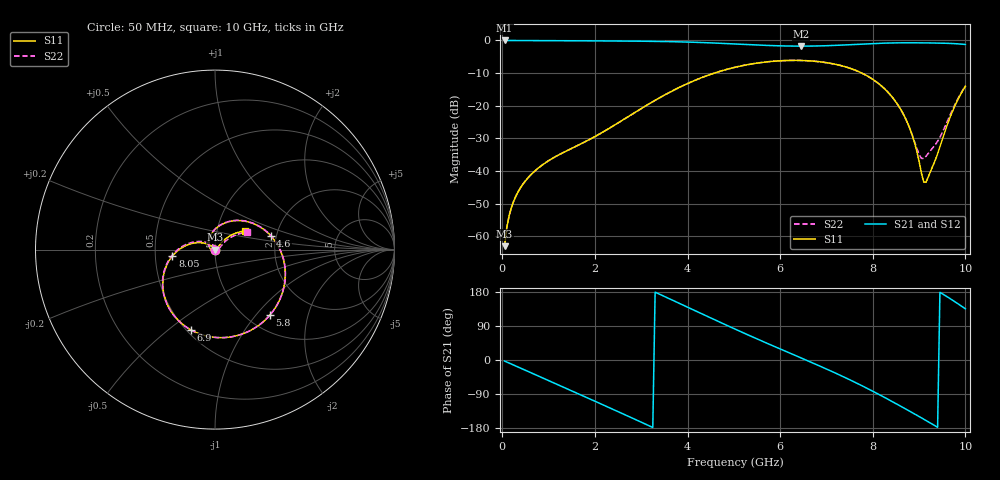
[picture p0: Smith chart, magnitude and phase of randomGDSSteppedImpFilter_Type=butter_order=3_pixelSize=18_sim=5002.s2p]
! freq	dB(S11)	phase(S11)	dB(S12)	phase(S12)
!  dB(S21)	phase(S21)	dB(S22)	phase(S22)
!S-par simulation data
#  GHz  S  DB  R 50
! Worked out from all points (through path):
!   200 points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, 50 MHz to 10 GHz, reference 50 ohm
!   highest |S21| = -0.01 dB at 50 MHz (marker M1); lowest = -1.7 dB at 6.45 GHz (marker M2)
!   group delay of S21, straight-line fit = 158 ps
!   lowest |S11| = -63.0 dB at 50 MHz (marker M3), VSWR 1.00, Z = 50 - j0.0703 ohm
!   |S11| at or under -10 dB: start of sweep to 4.581 GHz; 7.764 GHz to end of sweep
!   |S22| runs from -63.0 to -6.1 dB; largest |S21 - S12| = 0
!   S11 on the Smith chart (normalised r, x): 50 MHz: 1.00, -0.00; 4.6 GHz: 1.86, +0.32; 5.8 GHz: 1.26, -1.19; 6.9 GHz: 0.53, -0.60; 8.05 GHz: 0.62, -0.05; 10 GHz: 1.37, +0.30
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0.05  -63.03 -84.8  -0.01 -2.8  -0.01 -2.8  -63.03 -84.8
0.2  -51.05 -98.6  -0.03 -10.9  -0.03 -10.9  -51.04 -98.4
0.45  -43.95 -113.3  -0.04 -24.5  -0.04 -24.5  -43.94 -112.9
1.15  -35.58 -155.4  -0.07 -62.4  -0.07 -62.4  -35.58 -154.4
1.75  -31.32 169.3  -0.11 -95.1  -0.11 -95.1  -31.33 170.6
2.65  -23.95 120.9  -0.19 -144.6  -0.19 -144.6  -23.95 122.0
3.4  -17.54 80.4  -0.31 173.5  -0.31 173.5  -17.54 81.2
4.05  -12.89 44.6  -0.52 136.6  -0.52 136.6  -12.89 45.1
4.6  -9.91 14.1  -0.80 105.4  -0.80 105.4  -9.91 14.5
5.05  -8.14 -10.5  -1.10 80.3  -1.10 80.3  -8.14 -10.1
5.8  -6.45 -50.1  -1.57 39.7  -1.57 39.7  -6.45 -49.9
6.45  -6.14 -83.5  -1.75 5.6  -1.75 5.6  -6.14 -83.4
6.7  -6.32 -96.3  -1.72 -7.6  -1.72 -7.6  -6.32 -96.4
6.9  -6.61 -106.7  -1.66 -18.3  -1.66 -18.3  -6.61 -106.9
7.45  -8.25 -136.5  -1.35 -49.0  -1.35 -49.0  -8.26 -136.9
8.05  -12.40 -171.4  -0.93 -85.6  -0.93 -85.6  -12.42 -172.8
8.35  -16.19 170.2  -0.79 -105.0  -0.79 -105.0  -16.23 167.5
8.75  -25.22 144.3  -0.72 -131.9  -0.72 -131.9  -25.29 135.0
9  -37.05 115.4  -0.73 -149.1  -0.73 -149.1  -35.01 81.8
9.15  -43.44 39.2  -0.75 -159.6  -0.75 -159.6  -35.48 27.1
9.6  -26.19 46.9  -0.88 167.4  -0.88 167.4  -25.09 36.6
10  -14.06 31.9  -1.24 135.1  -1.24 135.1  -13.94 28.7
